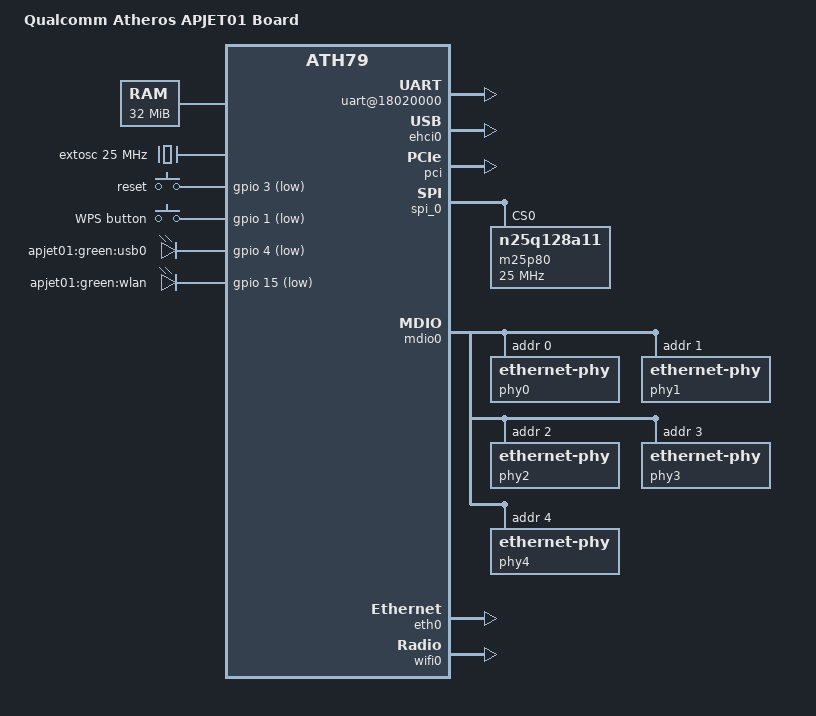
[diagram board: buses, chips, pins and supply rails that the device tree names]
/* Copyright (c) 2018, The Linux Foundation. All rights reserved.
 *
 * Permission to use, copy, modify, and/or distribute this software for any
 * purpose with or without fee is hereby granted, provided that the above
 * copyright notice and this permission notice appear in all copies.
 *
 * THE SOFTWARE IS PROVIDED "AS IS" AND THE AUTHOR DISCLAIMS ALL WARRANTIES
 * WITH REGARD TO THIS SOFTWARE INCLUDING ALL IMPLIED WARRANTIES OF
 * MERCHANTABILITY AND FITNESS. IN NO EVENT SHALL THE AUTHOR BE LIABLE FOR
 * ANY SPECIAL, DIRECT, INDIRECT, OR CONSEQUENTIAL DAMAGES OR ANY DAMAGES
 * WHATSOEVER RESULTING FROM LOSS OF USE, DATA OR PROFITS, WHETHER IN AN
 * ACTION OF CONTRACT, NEGLIGENCE OR OTHER TORTIOUS ACTION, ARISING OUT OF
 * OR IN CONNECTION WITH THE USE OR PERFORMANCE OF THIS SOFTWARE.
 *
 */

/dts-v1/;

#include <dt-bindings/gpio/gpio.h>
#include <dt-bindings/input/input.h>

#include "ath79.dtsi"

/ {
	compatible = "qca,apjet01", "qca,ath79";
	model = "Qualcomm Atheros APJET01 Board";

	aliases {
		serial0 = "/ahb/apb/uart@18020000";
		ehci_0 = &ehci0;
		eth0 = "/ahb/ethernet@19000000";
	};

	memory@0 {
		device_type = "memory";
		reg = <0x0 0x2000000>;
	};

	chosen {
		bootargs = "board=DTB console=ttyS0,115200 mtdparts=spi0.0:256k(u-boot)ro,64k(u-boot-env),30912k(rootfs),1472k(kernel),64k(art),32384k@0x50000(firmware) rootfstype=squashfs,jffs2 noinitrd crashkernel=10M@20M";
	};

	extosc: oscillator {
		compatible = "fixed-clock";
		#clock-cells = <0>;
		clock-frequency = <25000000>;
	};

	ahb {
		apb {
			uart@18020000 {
				status = "okay";
			};

			gpio@18040000 {
				val,gpio = <
					33 9
					32 10
				>;
			};

			pll-controller@18050000 {
				clocks = <&extosc>;
			};

			ehci0: usb@1b000000 {
				compatible = "qca,ath79-ehci";
				reg = <0x1b000000 0x200>;
				interrupt-parent = <&ip3_int>;
				interrupts = <0>;
				has-transaction-translator;
				qca_force_host_mode;
				qca_force_16bit_ptw;
				caps-offset = <0x100>;
				status = "okay";
			};

			pci: pci@0x16000000 {
				compatible = "qca,ar724x-pci";
				reg = <0x16000000 0x1000>,
				      <0x18280000 0x100>,
				      <0x18250000 0x1000>,
				      <0x12000000 0x02000000>,
					<1 1>;
				reg-names = "cfg_base","ctrl_base","crp_base",
						"mem_base","io_base";
				interrupt-parent = <&ip3_int>;
				interrupts = <2>;
				status = "okay";
			};
		};

		spi_0: spi@1f000000 {
			status = "okay";
			m25p80@0 {
				#address-cells = <1>;
				#size-cells = <1>;
				compatible = "n25q128a11";
				linux,modalias = "m25p80", "n25q128a11";
				reg = <0>;
				spi-max-frequency = <25000000>;
				support-4byte-cmd;
			};
		};

		mdio0: mdio@19000000 {
			compatible = "qca,ag71xx-mdio";
			reg = <0x19000000 0x200>;
			phy-mask = <0>;
			builtin-switch = <0>;
			ar934x-support = <0>;
			reset-bit = <0x400000>;
			phy0: ethernet-phy@0 {
				reg = <0>;
				qca,ar8327-initvals = <
					0x00004 0x80080080     /* PAD0_MODE */
					0x0007c 0x4e        /* PORT0_STATUS */
				>;
			};
			phy1: ethernet-phy@1 {
				reg = <1>;
			};
			phy2: ethernet-phy@2 {
				reg = <2>;
			};
			phy3: ethernet-phy@3 {
				reg = <3>;
			};
			phy4: ethernet-phy@4 {
				reg = <4>;
			};
		};

		eth0: ethernet@19000000 {
			compatible = "qca,ag71xx-eth";
			reg = <0x19000000 0x200>,
				<0x18070000 0x14>;
			reg-names = "mac_base",
					"cfg_base";
			mdio-handle = <&mdio0>;
			eth-pll-data = <0x1919 0x101 0x3000000>;
			phy-mode = <3>;
			eth-cfg = <0x40>;
			phy-mask = <1>;
			force-speed = <1000>;
			force-duplex = <1>;
			max-frame-len = <1540>;
			desc-pktlen-mask = <0xfff>;
			reset-bit = <0x200>;
			has-gbit = <1>;
			ar724x-support = <1>;
			qca955x-support = <0>;
			qca9561-support = <1>;
			qca956x-support;
			fifo-cfg = <0x0010ffff 0x015500aa 0x01f00140>;
			interrupts = <4>;
			interrupt-names = "mac_irq";
			local-mac-address = [ 00 00 00 00 00 00 ];
		};

	};

	gpio-keys-polled {
		compatible = "gpio-keys-polled";
		#address-cells = <1>;
		#size-cells = <0>;

		poll-interval = <20>;
		button@0 {
			label = "reset";
			linux,code = <KEY_RESTART>;
			gpios = <&gpio 3 GPIO_ACTIVE_LOW>;
			debounce-interval = <60>;
		};

		button@1 {
			label = "WPS button";
			linux,code = <KEY_WPS_BUTTON>;
			gpios = <&gpio 1 GPIO_ACTIVE_LOW>;
			debounce-interval = <60>;
		};
	};

	leds {
		compatible = "gpio-leds";
		led@0 {
			label = "apjet01:green:usb0";
			gpios = <&gpio 4 GPIO_ACTIVE_LOW>;

		};

		led@1 {
			label = "apjet01:green:wlan";
			gpios = <&gpio 15 GPIO_ACTIVE_LOW>;

		};
	};

	wifi0: wifi@b8100000 {
		compatible = "qca,wifi-ar550x";
		reg = <0xb8100000 0x20000>;
		core-id = <0x0>;

		interrupt-parent = <&ip2_int>;
		interrupts = <1>;
		interrupt-names = "legacy";
		status = "ok";
	};

};
